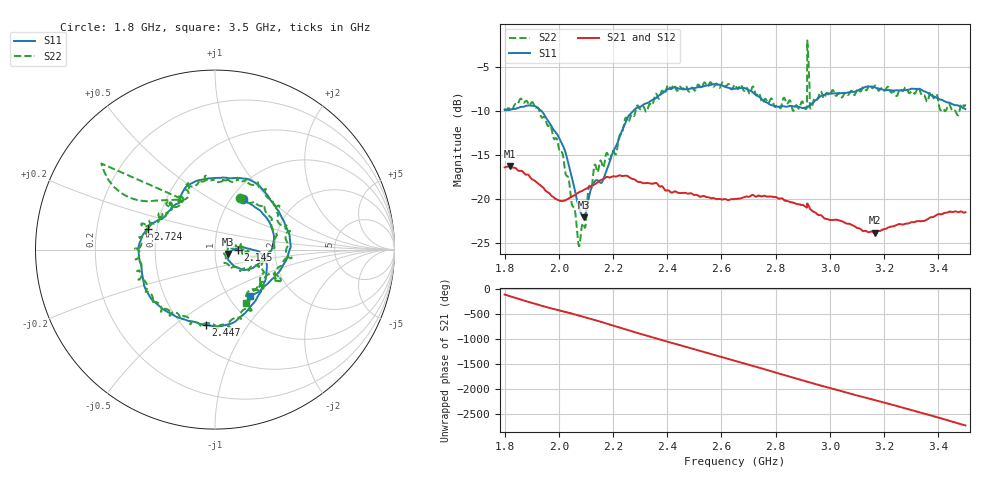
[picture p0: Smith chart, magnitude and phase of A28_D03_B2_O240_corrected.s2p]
! Created with skrf 1.9.0 (http://scikit-rf.org).
# Hz S RI R 50.0
!freq ReS11 ImS11 ReS21 ImS21 ReS12 ImS12 ReS22 ImS22
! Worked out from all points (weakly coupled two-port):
!   1601 points, 1.8 GHz to 3.5 GHz, reference 50 ohm
!   highest |S21| = -16.32 dB at 1.819 GHz (marker M1); lowest = -23.9 dB at 3.165 GHz (marker M2)
!   lowest |S11| = -22.1 dB at 2.091 GHz (marker M3), VSWR 1.17, Z = 58 - j2.88 ohm
!   |S11| at or under -10 dB: 1.936 GHz to 2.275 GHz (339.4 MHz wide, 16.1 % of centre)
!   |S22| runs from -25.4 to -2.0 dB; largest |S21 - S12| = 0.0026
!   S11 on the Smith chart (normalised r, x): 1.8 GHz: 1.13, +0.71; 2.145 GHz: 1.29, -0.00; 2.447 GHz: 0.64, -0.66; 2.724 GHz: 0.44, +0.12; 3.5 GHz: 1.26, -0.72
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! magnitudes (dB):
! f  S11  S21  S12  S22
! 1.8 GHz  -9.8  -16.4  -16.4  -9.9
! 1.819 GHz  -9.9  -16.3  -16.3  -9.8
! 1.903 GHz  -9.4  -17.8  -17.8  -9.0
! 1.968 GHz  -11.5  -19.5  -19.5  -11.6
! 2.015 GHz  -13.9  -20.2  -20.3  -15.0
! 2.072 GHz  -20.7  -19.3  -19.3  -25.1
! 2.084 GHz  -21.8  -19.1  -19.1  -23.4
! 2.091 GHz  -22.1  -19.0  -19.1  -22.8
! 2.113 GHz  -19.5  -18.6  -18.7  -18.5
! 2.145 GHz  -18.0  -18.1  -18.1  -16.8
! 2.26 GHz  -10.5  -17.5  -17.6  -11.1
! 2.367 GHz  -8.3  -18.5  -18.4  -8.6
! 2.447 GHz  -7.5  -19.3  -19.3  -7.2
! 2.65 GHz  -7.5  -20.0  -20.0  -7.0
! 2.724 GHz  -8.1  -19.7  -19.7  -7.9
! 2.868 GHz  -9.5  -20.5  -20.5  -9.9
! 2.907 GHz  -9.7  -20.8  -20.8  -9.7
! 2.925 GHz  -9.4  -21.0  -21.0  -7.4
! 2.934 GHz  -9.2  -21.3  -21.3  -9.6
! 3.165 GHz  -7.3  -23.9  -23.8  -7.1
! 3.217 GHz  -7.6  -23.2  -23.2  -7.4
! 3.5 GHz  -9.8  -21.5  -21.5  -9.3
